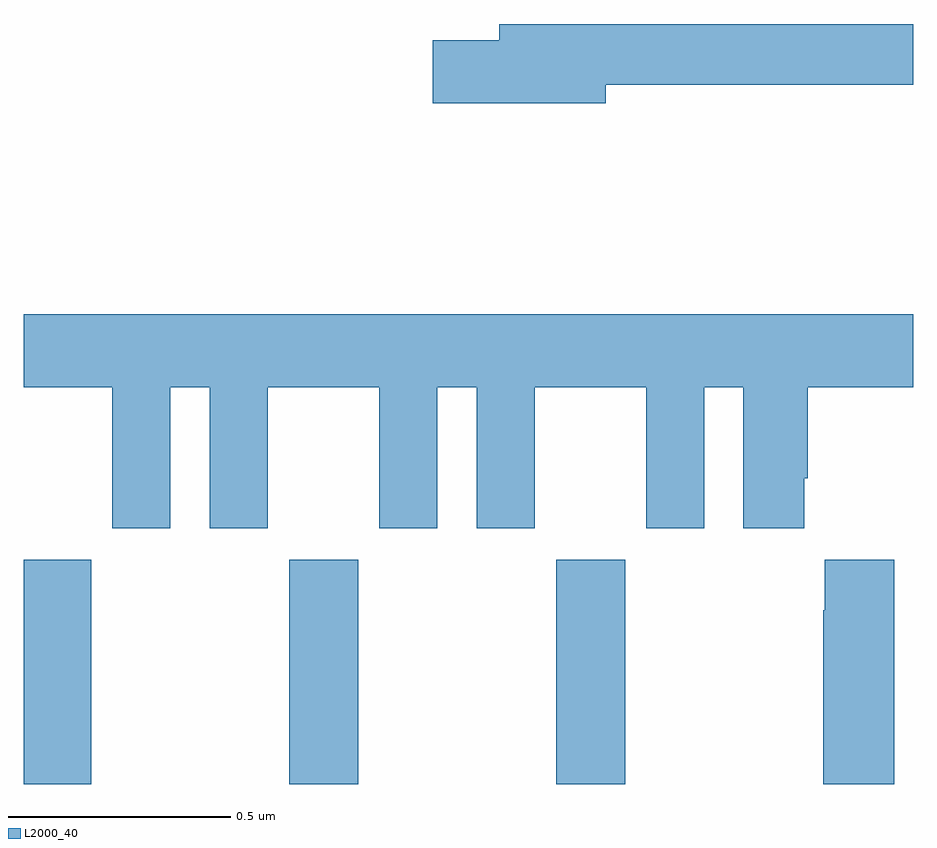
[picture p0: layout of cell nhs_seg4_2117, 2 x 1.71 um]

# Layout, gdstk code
import gdstk
lib = gdstk.Library(unit=1e-6, precision=1e-09)
def R(c, l, rs):  # rectangles x0, y0, x1, y1
    for r in rs: c.add(gdstk.rectangle(r[:2], r[2:], *l))
def P(c, l, *ps):  # polygons
    for p in ps: c.add(gdstk.Polygon(p, *l))
L2000_40 = (2000, 40)

nhs_seg4_2117 = lib.new_cell('nhs_seg4_2117')
R(nhs_seg4_2117, L2000_40, [(136,823.9,136.152,824.404), (136.597,823.9,136.752,824.404), (137.197,823.9,137.352,824.404)])
P(nhs_seg4_2117, L2000_40, [(137.308,825.472),(138,825.472),(138,825.608),(137.069,825.608),(137.069,825.572),(136.92,825.572),(136.92,825.43),(137.308,825.43)],
  [(136.33,824.792),(136.418,824.792),(136.418,824.475),(136.549,824.475),(136.549,824.792),(136.799,824.792),(136.799,824.475),(136.93,824.475),(136.93,824.792),(137.018,824.792),(137.018,824.475),(137.149,824.475),(137.149,824.792),(137.399,824.792),(137.399,824.475),(137.53,824.475),(137.53,824.792),(137.618,824.792),(137.618,824.475),(137.755,824.475),(137.755,824.587),(137.762,824.587),(137.762,824.792),(138,824.792),(138,824.956),(136,824.956),(136,824.792),(136.199,824.792),(136.199,824.475),(136.33,824.475)],
  [(137.957,824.404),(137.801,824.404),(137.801,824.291),(137.797,824.291),(137.797,823.9),(137.957,823.9)])

lib.write_gds('nhs_seg4_2117.gds')
